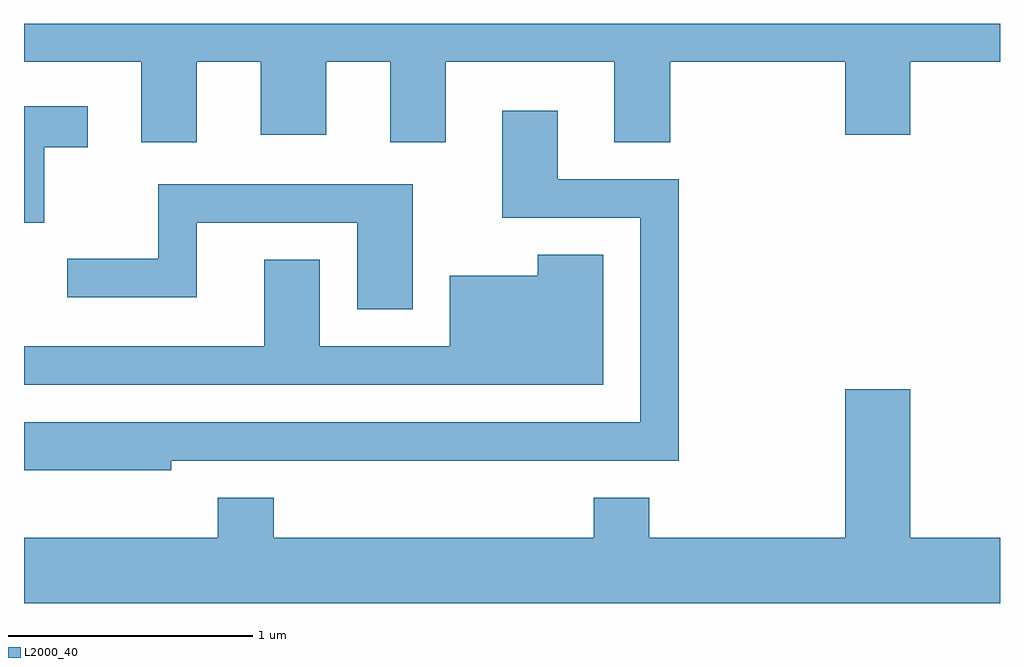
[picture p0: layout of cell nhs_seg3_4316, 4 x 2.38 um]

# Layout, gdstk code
import gdstk
lib = gdstk.Library(unit=1e-6, precision=1e-09)
def P(c, l, *ps):  # polygons
    for p in ps: c.add(gdstk.Polygon(p, *l))
L2000_40 = (2000, 40)

nhs_seg3_4316 = lib.new_cell('nhs_seg3_4316')
P(nhs_seg3_4316, L2000_40, [(312.319,1183.736),(312.581,1183.736),(312.581,1183.436),(312.849,1183.436),(312.849,1183.736),(313.111,1183.736),(313.111,1183.406),(313.339,1183.406),(313.339,1183.736),(314.031,1183.736),(314.031,1183.406),(314.259,1183.406),(314.259,1183.736),(314.976,1183.736),(314.976,1183.436),(315.244,1183.436),(315.244,1183.736),(315.611,1183.736),(315.611,1183.892),(311.611,1183.892),(311.611,1183.736),(312.091,1183.736),(312.091,1183.406),(312.319,1183.406)],
  [(311.694,1183.386),(311.873,1183.386),(311.873,1183.554),(311.611,1183.554),(311.611,1183.076),(311.694,1183.076)],
  [(312.214,1182.101),(314.294,1182.101),(314.294,1183.254),(313.799,1183.254),(313.799,1183.534),(313.571,1183.534),(313.571,1183.096),(314.136,1183.096),(314.136,1182.259),(311.611,1182.259),(311.611,1182.061),(312.214,1182.061)],
  [(313.204,1183.234),(312.161,1183.234),(312.161,1182.929),(311.788,1182.929),(311.788,1182.771),(312.319,1182.771),(312.319,1183.076),(312.976,1183.076),(312.976,1182.721),(313.204,1182.721)],
  [(313.984,1182.944),(313.716,1182.944),(313.716,1182.859),(313.356,1182.859),(313.356,1182.569),(312.824,1182.569),(312.824,1182.924),(312.596,1182.924),(312.596,1182.569),(311.611,1182.569),(311.611,1182.411),(313.984,1182.411)],
  [(315.611,1181.784),(315.244,1181.784),(315.244,1182.394),(314.976,1182.394),(314.976,1181.784),(314.174,1181.784),(314.174,1181.949),(313.946,1181.949),(313.946,1181.784),(312.634,1181.784),(312.634,1181.949),(312.406,1181.949),(312.406,1181.784),(311.611,1181.784),(311.611,1181.516),(315.611,1181.516)])

lib.write_gds('nhs_seg3_4316.gds')
